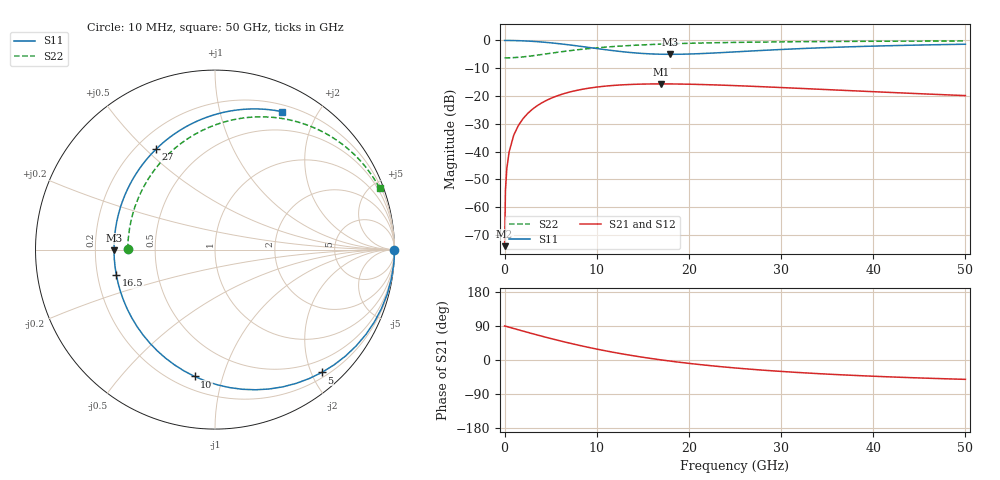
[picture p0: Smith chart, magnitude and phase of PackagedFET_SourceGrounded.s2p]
! Example Packaged FET S-Parameter file 2-port
! AWR Design Environment (4980)
! Ports: 2, Freqs: 103
# GHz S DB R 50
!Freq  DBS11  AngS11  DBS21  AngS21  DBS12  AngS12  DBS22  AngS22
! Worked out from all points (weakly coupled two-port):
!   103 points, 10 MHz to 50 GHz, reference 50 ohm
!   highest |S21| = -15.65 dB at 17 GHz (marker M1); lowest = -74.1 dB at 10 MHz (marker M2)
!   lowest |S11| = -5.0 dB at 18 GHz (marker M3), VSWR 3.58, Z = 14 - j0.169 ohm
!   |S11| at or under -10 dB: nowhere
!   |S22| runs from -6.3 to -0.2 dB; largest |S21 - S12| = 0
!   S11 on the Smith chart (normalised r, x): 10 MHz: open; 5 GHz: 0.28, -2.17; 10 GHz: 0.28, -0.81; 16.5 GHz: 0.28, -0.12; 27 GHz: 0.28, +0.54; 50 GHz: 0.27, +1.57
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0.01  -0.00 -0.1  -74.09 89.8  -74.09 89.8  -6.27 179.8
0.1  -0.00 -1.0  -54.09 89.3  -54.09 89.3  -6.27 178.6
0.25  -0.00 -2.4  -46.14 88.3  -46.14 88.3  -6.27 176.4
0.5  -0.01 -4.9  -40.12 86.6  -40.12 86.6  -6.25 172.8
1  -0.04 -9.8  -34.13 83.2  -34.13 83.2  -6.18 165.6
1.5  -0.08 -14.7  -30.64 79.7  -30.64 79.7  -6.07 158.6
2.5  -0.22 -24.4  -26.34 73.0  -26.34 73.0  -5.74 145.2
3.5  -0.42 -34.2  -23.60 66.4  -23.60 66.4  -5.31 133.0
5  -0.85 -49.0  -20.89 56.8  -20.89 56.8  -4.61 117.1
6.5  -1.39 -63.8  -19.10 47.8  -19.10 47.8  -3.93 103.8
8.5  -2.23 -83.8  -17.55 36.6  -17.55 36.6  -3.14 89.5
10  -2.90 -99.1  -16.80 28.8  -16.80 28.8  -2.66 80.9
13  -4.13 -130.2  -15.95 15.2  -15.95 15.2  -1.94 67.3
16.5  -4.92 -165.6  -15.65 1.9  -15.65 1.9  -1.39 56.0
17  -4.96 -170.4  -15.65 0.2  -15.65 0.2  -1.33 54.6
18  -4.99 -179.6  -15.66 -3.0  -15.66 -3.0  -1.21 52.1
21.5  -4.70 152.2  -15.88 -12.8  -15.88 -12.8  -0.91 44.8
25.5  -4.03 127.8  -16.33 -22.0  -16.33 -22.0  -0.68 38.5
27  -3.76 120.5  -16.53 -24.9  -16.53 -24.9  -0.62 36.6
33.5  -2.75 96.3  -17.48 -35.2  -17.48 -35.2  -0.41 30.0
42  -1.87 76.3  -18.74 -44.7  -18.74 -44.7  -0.27 24.2
50  -1.36 63.9  -19.86 -51.1  -19.86 -51.1  -0.19 20.5
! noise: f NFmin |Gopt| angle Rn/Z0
0.01  18.44  1  0.0977  6.149e+06
4.5  7.585  0.9087  43.64  24.82
10  6.625  0.6524  95.29  2.462
16  5.476  0.4235  152.7  0.4169
21.5  4.593  0.3614  -155.2  0.3411
27  3.9  0.3948  -117.1  0.4764
33  3.317  0.4581  -91.52  0.6229
38.5  2.903  0.513  -76.39  0.7261
44  2.572  0.56  -65.68  0.8025
50  2.281  0.6026  -57.05  0.8629
